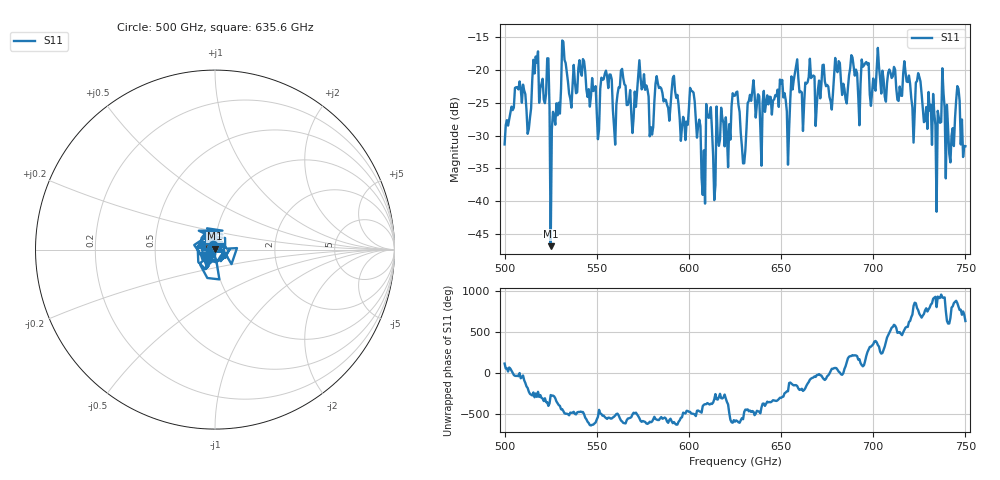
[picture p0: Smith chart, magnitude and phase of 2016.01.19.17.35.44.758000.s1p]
!Created with skrf (http://scikit-rf.org).
# GHz S RI R 50.0
!freq ReS11 ImS11
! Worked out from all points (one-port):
!   401 points, 500 GHz to 750 GHz, reference 50 ohm
!   lowest |S11| = -46.8 dB at 525 GHz (marker M1), VSWR 1.01, Z = 50 + j0.455 ohm
!   |S11| at or under -10 dB: start of sweep to end of sweep
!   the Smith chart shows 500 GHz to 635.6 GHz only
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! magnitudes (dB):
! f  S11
! 500 GHz  -31.3
! 506.9 GHz  -22.6
! 513.1 GHz  -29.0
! 516.9 GHz  -18.0
! 525 GHz  -46.8
! 531.2 GHz  -15.5
! 550 GHz  -26.4
! 556.2 GHz  -22.8
! 560 GHz  -31.4
! 562.5 GHz  -22.7
! 580 GHz  -29.9
! 593.8 GHz  -23.8
! 601.9 GHz  -23.3
! 607.5 GHz  -39.0
! 610.6 GHz  -27.3
! 614.4 GHz  -37.6
! 625 GHz  -23.9
! 629.4 GHz  -34.2
! 633.8 GHz  -24.7
! 653.8 GHz  -34.4
! 656.2 GHz  -23.0
! 687.5 GHz  -19.7
! 718.8 GHz  -21.8
! 733.1 GHz  -26.6
! 737.5 GHz  -19.7
! 740.6 GHz  -29.1
! 745.6 GHz  -22.5
! 750 GHz  -31.6
